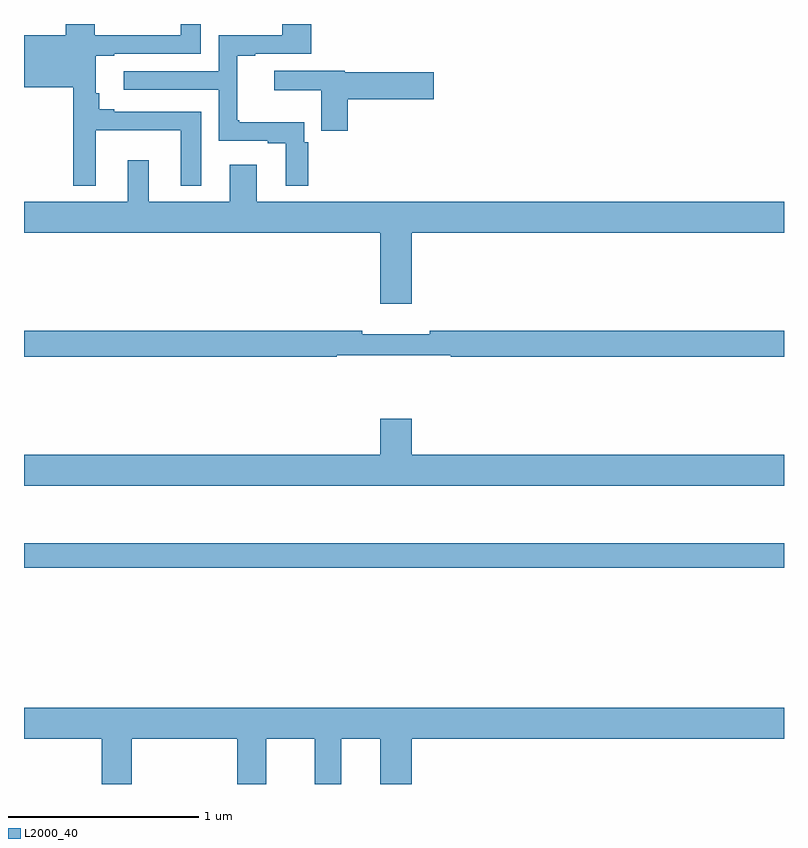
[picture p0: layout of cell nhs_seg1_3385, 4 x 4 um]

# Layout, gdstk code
import gdstk
lib = gdstk.Library(unit=1e-6, precision=1e-09)
def R(c, l, rs):  # rectangles x0, y0, x1, y1
    for r in rs: c.add(gdstk.rectangle(r[:2], r[2:], *l))
def P(c, l, *ps):  # polygons
    for p in ps: c.add(gdstk.Polygon(p, *l))
L2000_40 = (2000, 40)

nhs_seg1_3385 = lib.new_cell('nhs_seg1_3385')
R(nhs_seg1_3385, L2000_40, [(295,515.338,299,515.467)])
P(nhs_seg1_3385, L2000_40, [(295.378,517.64),(295.826,517.64),(295.826,517.349),(295.933,517.349),(295.933,517.737),(295.474,517.737),(295.474,517.75),(295.396,517.75),(295.396,517.834),(295.378,517.834),(295.378,518.031),(295.474,518.031),(295.474,518.043),(295.93,518.043),(295.93,518.199),(295.826,518.199),(295.826,518.139),(295.372,518.139),(295.372,518.199),(295.22,518.199),(295.22,518.14),(295,518.14),(295,517.865),(295.26,517.865),(295.26,517.349),(295.378,517.349)],
  [(296.495,517.577),(296.475,517.577),(296.475,517.681),(296.134,517.681),(296.134,517.693),(296.123,517.693),(296.123,518.031),(296.218,518.031),(296.218,518.043),(296.513,518.043),(296.513,518.199),(296.36,518.199),(296.36,518.139),(296.025,518.139),(296.025,517.95),(295.524,517.95),(295.524,517.854),(296.025,517.854),(296.025,517.584),(296.282,517.584),(296.282,517.572),(296.378,517.572),(296.378,517.349),(296.495,517.349)],
  [(296.705,517.802),(297.157,517.802),(297.157,517.944),(296.688,517.944),(296.688,517.954),(296.316,517.954),(296.316,517.85),(296.564,517.85),(296.564,517.638),(296.705,517.638)],
  [(297.04,517.1),(299,517.1),(299,517.264),(296.224,517.264),(296.224,517.459),(296.084,517.459),(296.084,517.264),(295.657,517.264),(295.657,517.483),(295.547,517.483),(295.547,517.264),(295,517.264),(295,517.1),(296.876,517.1),(296.876,516.726),(297.04,516.726)],
  [(296.645,516.456),(297.245,516.456),(297.245,516.448),(299,516.448),(299,516.584),(297.136,516.584),(297.136,516.565),(296.78,516.565),(296.78,516.584),(295,516.584),(295,516.448),(296.645,516.448)],
  [(299,515.932),(297.04,515.932),(297.04,516.121),(296.876,516.121),(296.876,515.932),(295,515.932),(295,515.768),(299,515.768)],
  [(295.568,514.436),(296.123,514.436),(296.123,514.199),(296.275,514.199),(296.275,514.436),(296.531,514.436),(296.531,514.199),(296.671,514.199),(296.671,514.436),(296.876,514.436),(296.876,514.199),(297.04,514.199),(297.04,514.436),(299,514.436),(299,514.6),(295,514.6),(295,514.436),(295.408,514.436),(295.408,514.199),(295.568,514.199)])

lib.write_gds('nhs_seg1_3385.gds')
